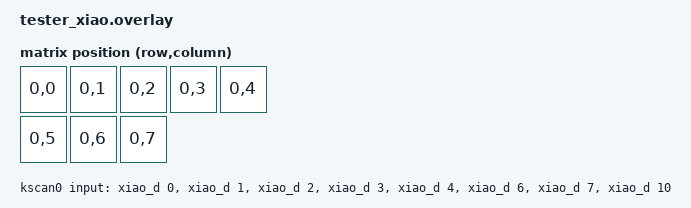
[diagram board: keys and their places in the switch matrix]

&board_cdc_acm_uart {
	status = "disabled";
};

/* D5 is SCL, D8 is SDA, and D9 is IN. Keep the test shield off them. */
&kscan0 {
    input-gpios
        = <&xiao_d 0 (GPIO_ACTIVE_LOW | GPIO_PULL_UP)>
        , <&xiao_d 1 (GPIO_ACTIVE_LOW | GPIO_PULL_UP)>
        , <&xiao_d 2 (GPIO_ACTIVE_LOW | GPIO_PULL_UP)>
        , <&xiao_d 3 (GPIO_ACTIVE_LOW | GPIO_PULL_UP)>
        , <&xiao_d 4 (GPIO_ACTIVE_LOW | GPIO_PULL_UP)>
        , <&xiao_d 6 (GPIO_ACTIVE_LOW | GPIO_PULL_UP)>
        , <&xiao_d 7 (GPIO_ACTIVE_LOW | GPIO_PULL_UP)>
        , <&xiao_d 10 (GPIO_ACTIVE_LOW | GPIO_PULL_UP)>
        ;
};

#undef RC
#include <dt-bindings/zmk/matrix_transform.h>
&transform0 {
    columns = <8>;
    map = <
        RC(0,0) RC(0,1) RC(0,2) RC(0,3) RC(0,4)
        RC(0,5) RC(0,6) RC(0,7)
    >;
};
